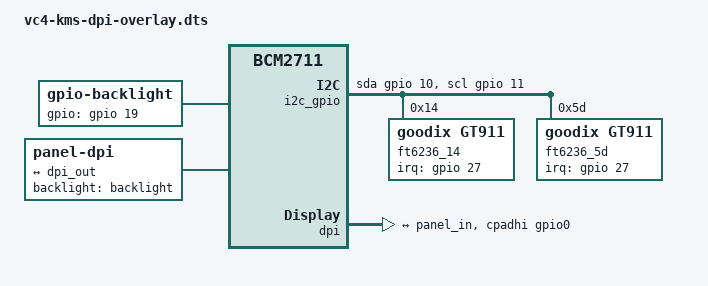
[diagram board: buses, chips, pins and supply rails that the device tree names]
/*
 * vc4-kms-dpi-overlay.dts
 * Based on the device-tree files from raspberry-pi/kernel
 */

/dts-v1/;
/plugin/;

/ {
	compatible = "brcm,bcm2711";

	backlight: backlight {
		compatible = "gpio-backlight";
		gpios = <&gpio 19 0>;
	};

	panel {
		compatible = "panel-dpi";

		rotation = <0>;

		width-mm = <95>;
		height-mm = <54>;
		bus-format = <0x1015>;

		backlight = <&backlight>;

		port {
			panel_in: endpoint {
				remote-endpoint = <&dpi_out>;
			};
		};

		panel-timing {
			clock-frequency = <32000000>;
			hactive = <800>;
			hfront-porch = <16>;
			hsync-len = <1>;
			hback-porch = <46>;
			hsync-active = <1>;
			vactive = <480>;
			vfront-porch = <7>;
			vsync-len = <3>;
			vback-porch = <23>;
			vsync-active = <1>;

			de-active = <1>;
			pixelclk-active = <1>;
		};
	};

	i2c_gpio: i2c@0 {
		compatible = "i2c-gpio";
		sda-gpios = <&gpio 10 6>; 
		scl-gpios = <&gpio 11 6>;
		i2c-gpio,delay-us = <4>;

		ft6236_14: ft6236@14 {
			compatible = "goodix,gt911";
			reg = <0x14>;
			interrupt-parent = <&gpio>;
			interrupts = <27 2>;
			touchscreen-size-x = <800>;
			touchscreen-size-y = <480>;
			touchscreen-x-mm = <95>;
			touchscreen-y-mm = <54>;
		};

		ft6236_5d: ft6236@5d {
			compatible = "goodix,gt911";
			reg = <0x5d>;
			interrupt-parent = <&gpio>;
			interrupts = <27 2>;
			touchscreen-size-x = <800>;
			touchscreen-size-y = <480>;
			touchscreen-x-mm = <95>;
			touchscreen-y-mm = <54>;
		};
	};
};

&dpi {
	status = "okay";

	pinctrl-names = "default";
	pinctrl-0 = <&dpi_18bit_cpadhi_gpio0>;

	port {
		dpi_out: endpoint {
			remote-endpoint = <&panel_in>;
		};
	};
};

&gpio {
	dpi_18bit_cpadhi_gpio0: dpi_18bit_cpadhi_gpio0 {
		brcm,pins = <0 1 2 3 4 5 6 7 8 9 12 13 14 15 16 17 20 21 22 23 24 25>;
		brcm,function = <6>;
		brcm,pull = <0>;
	};
};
